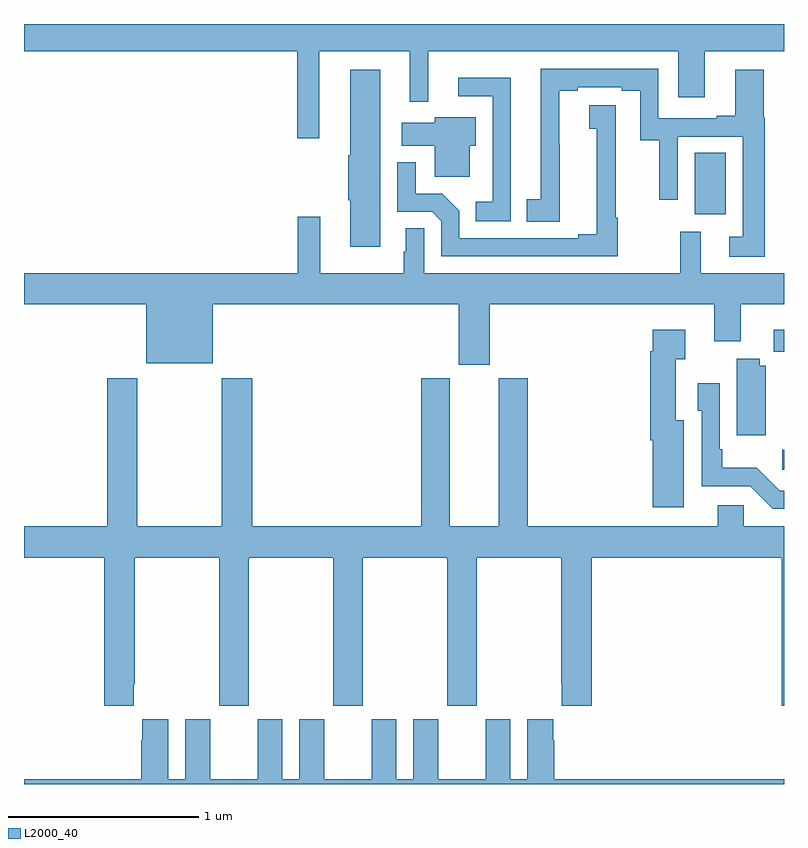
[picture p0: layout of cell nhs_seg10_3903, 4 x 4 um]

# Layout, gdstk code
import gdstk
lib = gdstk.Library(unit=1e-6, precision=1e-09)
def R(c, l, rs):  # rectangles x0, y0, x1, y1
    for r in rs: c.add(gdstk.rectangle(r[:2], r[2:], *l))
def P(c, l, *ps):  # polygons
    for p in ps: c.add(gdstk.Polygon(p, *l))
L2000_40 = (2000, 40)

nhs_seg10_3903 = lib.new_cell('nhs_seg10_3903')
R(nhs_seg10_3903, L2000_40, [(330.991,1258.155,331,1258.26), (330.945,1258.776,331,1258.891), (330.53,1259.499,330.694,1259.822)])
P(nhs_seg10_3903, L2000_40, [(328.555,1260.356),(329.03,1260.356),(329.03,1260.09),(329.128,1260.09),(329.128,1260.356),(330.443,1260.356),(330.443,1260.114),(330.583,1260.114),(330.583,1260.356),(331,1260.356),(331,1260.5),(327,1260.5),(327,1260.356),(328.438,1260.356),(328.438,1259.898),(328.555,1259.898)],
  [(330.899,1260.01),(330.893,1260.01),(330.893,1260.259),(330.743,1260.259),(330.743,1260.016),(330.647,1260.016),(330.647,1260.003),(330.339,1260.003),(330.339,1260.264),(329.72,1260.264),(329.72,1259.577),(329.647,1259.577),(329.647,1259.458),(329.819,1259.458),(329.819,1259.867),(329.818,1259.867),(329.818,1260.148),(329.914,1260.148),(329.914,1260.168),(330.146,1260.168),(330.146,1260.148),(330.243,1260.148),(330.243,1259.887),(330.343,1259.887),(330.343,1259.574),(330.441,1259.574),(330.441,1259.907),(330.783,1259.907),(330.783,1259.379),(330.711,1259.379),(330.711,1259.274),(330.899,1259.274)],
  [(328.876,1260.259),(328.718,1260.259),(328.718,1259.81),(328.706,1259.81),(328.706,1259.572),(328.718,1259.572),(328.718,1259.328),(328.876,1259.328)],
  [(329.562,1259.666),(329.563,1259.666),(329.563,1260.217),(329.286,1260.217),(329.286,1260.12),(329.466,1260.12),(329.466,1259.564),(329.377,1259.564),(329.377,1259.463),(329.562,1259.463)],
  [(330.125,1259.48),(330.115,1259.48),(330.115,1260.073),(329.975,1260.073),(329.975,1259.948),(330.014,1259.948),(330.014,1259.393),(329.918,1259.393),(329.918,1259.373),(329.292,1259.373),(329.292,1259.517),(329.202,1259.607),(329.061,1259.607),(329.061,1259.773),(328.965,1259.773),(328.965,1259.511),(329.148,1259.511),(329.196,1259.463),(329.196,1259.277),(330.125,1259.277)],
  [(329.347,1259.858),(329.377,1259.858),(329.377,1260.01),(329.162,1260.01),(329.162,1259.98),(328.989,1259.98),(328.989,1259.858),(329.162,1259.858),(329.162,1259.696),(329.347,1259.696)],
  [(329.452,1259.024),(330.632,1259.024),(330.632,1258.83),(330.772,1258.83),(330.772,1259.024),(331,1259.024),(331,1259.188),(330.562,1259.188),(330.562,1259.407),(330.453,1259.407),(330.453,1259.188),(329.106,1259.188),(329.106,1259.426),(329.009,1259.426),(329.009,1259.301),(328.998,1259.301),(328.998,1259.188),(328.558,1259.188),(328.558,1259.485),(328.441,1259.485),(328.441,1259.188),(327,1259.188),(327,1259.024),(327.644,1259.024),(327.644,1258.715),(327.994,1258.715),(327.994,1259.024),(329.288,1259.024),(329.288,1258.707),(329.452,1258.707)],
  [(330.472,1258.414),(330.43,1258.414),(330.43,1258.735),(330.481,1258.735),(330.481,1258.891),(330.308,1258.891),(330.308,1258.778),(330.296,1258.778),(330.296,1258.31),(330.308,1258.31),(330.308,1257.957),(330.472,1257.957)],
  [(330.904,1258.702),(330.872,1258.702),(330.872,1258.739),(330.752,1258.739),(330.752,1258.335),(330.904,1258.335)],
  [(327.437,1257.856),(327,1257.856),(327,1257.692),(327.422,1257.692),(327.422,1256.913),(327.577,1256.913),(327.577,1257.025),(327.582,1257.025),(327.582,1257.692),(328.027,1257.692),(328.027,1256.913),(328.182,1256.913),(328.182,1257.692),(328.627,1257.692),(328.627,1256.913),(328.782,1256.913),(328.782,1257.692),(329.227,1257.692),(329.227,1256.913),(329.382,1256.913),(329.382,1257.692),(329.827,1257.692),(329.827,1257.025),(329.831,1257.025),(329.831,1256.913),(329.987,1256.913),(329.987,1257.692),(330.989,1257.692),(330.989,1256.913),(331,1256.913),(331,1257.856),(330.789,1257.856),(330.789,1257.966),(330.65,1257.966),(330.65,1257.856),(329.651,1257.856),(329.651,1258.635),(329.498,1258.635),(329.498,1257.856),(329.242,1257.856),(329.242,1258.635),(329.09,1258.635),(329.09,1257.856),(328.202,1257.856),(328.202,1258.636),(328.042,1258.636),(328.042,1257.856),(327.597,1257.856),(327.597,1258.636),(327.437,1258.636)],
  [(331,1258.044),(330.978,1258.044),(330.857,1258.165),(330.676,1258.165),(330.676,1258.261),(330.663,1258.261),(330.663,1258.609),(330.546,1258.609),(330.546,1258.464),(330.567,1258.464),(330.567,1258.068),(330.822,1258.068),(330.942,1257.948),(331,1257.948)],
  [(327.623,1256.842),(327.623,1256.729),(327.617,1256.729),(327.617,1256.524),(327,1256.524),(327,1256.5),(331,1256.5),(331,1256.524),(329.792,1256.524),(329.792,1256.729),(329.785,1256.729),(329.785,1256.842),(329.648,1256.842),(329.648,1256.524),(329.56,1256.524),(329.56,1256.842),(329.429,1256.842),(329.429,1256.524),(329.179,1256.524),(329.179,1256.842),(329.048,1256.842),(329.048,1256.524),(328.96,1256.524),(328.96,1256.842),(328.829,1256.842),(328.829,1256.524),(328.579,1256.524),(328.579,1256.842),(328.448,1256.842),(328.448,1256.524),(328.36,1256.524),(328.36,1256.842),(328.229,1256.842),(328.229,1256.524),(327.979,1256.524),(327.979,1256.842),(327.848,1256.842),(327.848,1256.524),(327.76,1256.524),(327.76,1256.842)])

lib.write_gds('nhs_seg10_3903.gds')
